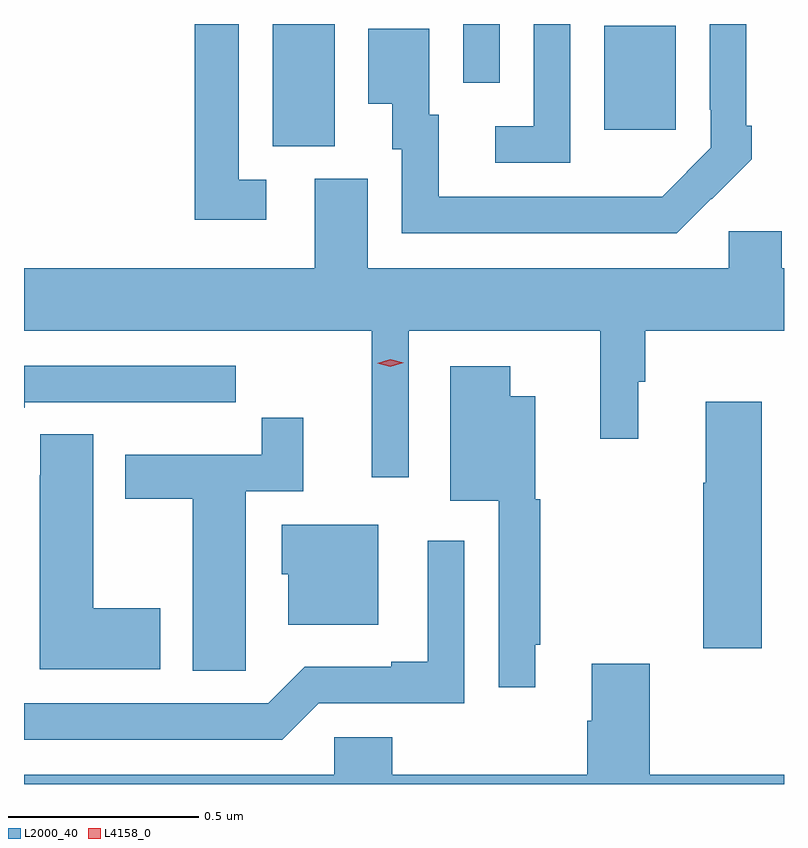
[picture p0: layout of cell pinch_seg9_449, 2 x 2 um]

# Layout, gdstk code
import gdstk
lib = gdstk.Library(unit=1e-6, precision=1e-09)
def R(c, l, rs):  # rectangles x0, y0, x1, y1
    for r in rs: c.add(gdstk.rectangle(r[:2], r[2:], *l))
def P(c, l, *ps):  # polygons
    for p in ps: c.add(gdstk.Polygon(p, *l))
L2000_40 = (2000, 40)
L4158_0 = (4158, 0)

pinch_seg9_449 = lib.new_cell('pinch_seg9_449')
R(pinch_seg9_449, L2000_40, [(150.89,1230.205,151.054,1230.527), (151.763,1230.249,151.951,1230.523), (151.392,1230.372,151.488,1230.527)])
P(pinch_seg9_449, L2000_40, [(151.674,1230.527),(151.578,1230.527),(151.578,1230.258),(151.476,1230.258),(151.476,1230.162),(151.674,1230.162)],
  [(150.874,1230.117),(150.801,1230.117),(150.801,1230.527),(150.685,1230.527),(150.685,1230.012),(150.874,1230.012)],
  [(152.045,1230.067),(152.046,1230.066),(152.151,1230.171),(152.151,1230.259),(152.136,1230.259),(152.136,1230.527),(152.04,1230.527),(152.04,1230.301),(152.043,1230.301),(152.043,1230.201),(151.915,1230.073),(151.811,1230.073),(151.811,1230.072),(151.327,1230.072),(151.327,1230.288),(151.303,1230.288),(151.303,1230.514),(151.142,1230.514),(151.142,1230.317),(151.205,1230.317),(151.205,1230.198),(151.23,1230.198),(151.23,1229.976),(151.954,1229.976)],
  [(151.248,1229.72),(151.753,1229.72),(151.753,1229.436),(151.852,1229.436),(151.852,1229.586),(151.871,1229.586),(151.871,1229.72),(152.236,1229.72),(152.236,1229.884),(152.23,1229.884),(152.23,1229.982),(152.091,1229.982),(152.091,1229.884),(151.141,1229.884),(151.141,1230.12),(151.001,1230.12),(151.001,1229.884),(150.236,1229.884),(150.236,1229.72),(151.151,1229.72),(151.151,1229.334),(151.248,1229.334)],
  [(150.238,1229.532),(150.514,1229.532),(150.514,1229.531),(150.68,1229.531),(150.68,1229.532),(150.793,1229.532),(150.793,1229.628),(150.236,1229.628),(150.236,1229.517),(150.238,1229.517)],
  [(151.582,1228.894),(151.594,1228.894),(151.594,1229.277),(151.582,1229.277),(151.582,1229.548),(151.516,1229.548),(151.516,1229.626),(151.358,1229.626),(151.358,1229.273),(151.485,1229.273),(151.485,1228.782),(151.582,1228.782)],
  [(152.177,1229.533),(152.03,1229.533),(152.03,1229.32),(152.023,1229.32),(152.023,1228.884),(152.177,1228.884)],
  [(150.819,1228.936),(150.82,1228.936),(150.82,1229.298),(150.971,1229.298),(150.971,1229.491),(150.862,1229.491),(150.862,1229.394),(150.503,1229.394),(150.503,1229.278),(150.68,1229.278),(150.68,1228.825),(150.819,1228.825)],
  [(150.595,1228.989),(150.418,1228.989),(150.418,1229.447),(150.279,1229.447),(150.279,1229.339),(150.278,1229.339),(150.278,1228.829),(150.595,1228.829)],
  [(151.168,1229.209),(150.914,1229.209),(150.914,1229.079),(150.932,1229.079),(150.932,1228.946),(151.168,1228.946)],
  [(151.011,1228.74),(151.395,1228.74),(151.395,1229.167),(151.298,1229.167),(151.298,1228.849),(151.202,1228.849),(151.202,1228.836),(150.975,1228.836),(150.879,1228.74),(150.236,1228.74),(150.236,1228.644),(150.915,1228.644)],
  [(152.236,1228.552),(151.883,1228.552),(151.883,1228.843),(151.73,1228.843),(151.73,1228.694),(151.718,1228.694),(151.718,1228.552),(151.205,1228.552),(151.205,1228.65),(151.053,1228.65),(151.053,1228.552),(150.236,1228.552),(150.236,1228.527),(152.236,1228.527)])
P(pinch_seg9_449, L4158_0, [(151.2,1229.625),(151.165,1229.634),(151.165,1229.634),(151.165,1229.634),(151.2,1229.645),(151.235,1229.636),(151.235,1229.636),(151.235,1229.636)])

lib.write_gds('pinch_seg9_449.gds')
